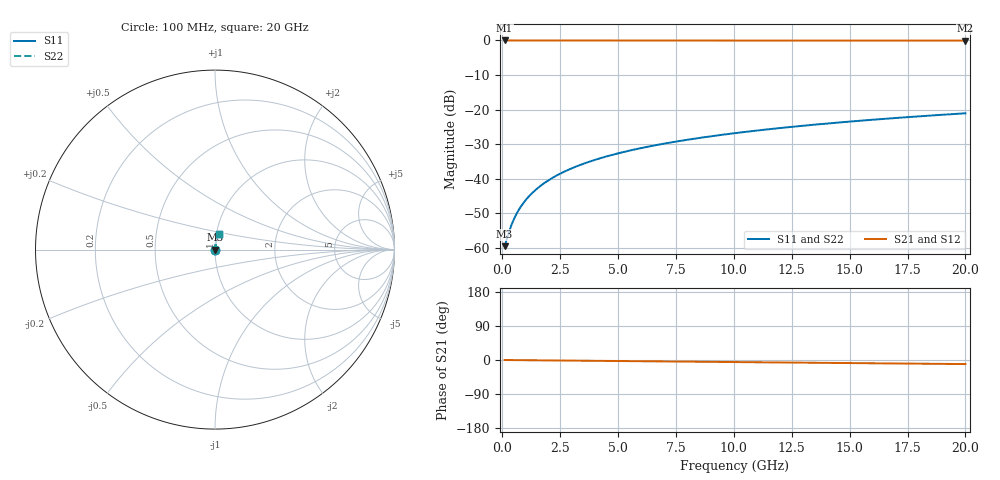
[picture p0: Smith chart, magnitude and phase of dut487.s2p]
! Touchstone file exported from HFSS 2026.1.0
!  File:  C:/ffzhzh/LocalFiles/Ansys_Project_Files/temp_train_TSV_487_1783022693_51716.aedt
!  Generated:  04:07:23 AM Jul  3, 2026
!  Design:  TSV
!  Project:  temp_train_TSV_487_1783022693_51716
! Variables:
!  h_bsmrdl = 2um
!  h_ox = 20um
!  h_rdl = 5um
!  h_sub = 99.31um
!  h_tmrdl = 5um
!  h_tsv = 99.31um
!  h_via = 3um
!  l_bsmrdl = 300um
!  l_sub = 407.06um
!  l_tmrdl = 200um
!  m_sub = 200um
!  pitch = 32.41um
!  r_tsv = 3.53um
!  s_tmrdl = 10um
!  w_bsmrdl = 18um
!  w_sub = 500um
!  w_tmrdl = 12um
!  x_tsv_center1 = 206um
!  x_tsv_center2 = 524um
!  x_tsv_center3 = 736um
!  x_tsv_center4 = 1054um
!  x_tsv_center5 = 1266um
!  x_tsv_center6 = 1584um
# GHz S MA R 50.000000
! Terminal data exported
! Port[1] = TSV1_1_T1
! Port[2] = TSV1_1_T2
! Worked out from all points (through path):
!   200 points, 100 MHz to 20 GHz, reference 50 ohm
!   highest |S21| = -0.01 dB at 100 MHz (marker M1); lowest = -0.1 dB at 20 GHz (marker M2)
!   group delay of S21, straight-line fit = 1.49 ps
!   lowest |S11| = -59.6 dB at 100 MHz (marker M3), VSWR 1.00, Z = 50.1 + j0.0487 ohm
!   |S11| at or under -10 dB: start of sweep to end of sweep
!   |S22| runs from -59.6 to -21.1 dB; largest |S21 - S12| = 4.2e-15
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0.1  0.001052 27.5  0.9991 -0.1  0.9991 -0.1  0.001052 27.5
! Gamma 0 0 0 0
! Port Impedance 50 0 50 0
0.3  0.001733 56.4  0.999 -0.2  0.999 -0.2  0.001733 56.4
0.4  0.002148 63.0  0.999 -0.2  0.999 -0.2  0.002148 63.0
0.5  0.002581 67.5  0.999 -0.3  0.999 -0.3  0.002581 67.5
0.6  0.003023 70.6  0.999 -0.3  0.999 -0.3  0.003023 70.6
0.7  0.003472 72.9  0.999 -0.4  0.999 -0.4  0.003472 72.9
0.9  0.004381 76.1  0.999 -0.5  0.999 -0.5  0.004381 76.1
1.2  0.005762 78.9  0.9989 -0.7  0.9989 -0.7  0.005762 78.9
1.4  0.006687 80.1  0.9989 -0.8  0.9989 -0.8  0.006687 80.1
1.7  0.008078 81.3  0.9989 -0.9  0.9989 -0.9  0.008078 81.3
2.2  0.0104 82.4  0.9988 -1.2  0.9988 -1.2  0.0104 82.4
2.8  0.01317 83.0  0.9987 -1.5  0.9987 -1.5  0.01317 83.0
3.5  0.01639 83.2  0.9985 -1.9  0.9985 -1.9  0.01639 83.2
4.2  0.01958 83.3  0.9983 -2.3  0.9983 -2.3  0.01958 83.3
5  0.0232 83.1  0.9981 -2.8  0.9981 -2.8  0.0232 83.1
5.9  0.02723 82.9  0.9978 -3.2  0.9978 -3.2  0.02723 82.9
6.8  0.03123 82.6  0.9975 -3.7  0.9975 -3.7  0.03123 82.6
8.3  0.03784 82.0  0.997 -4.5  0.997 -4.5  0.03784 82.0
10.1  0.04571 81.3  0.9964 -5.5  0.9964 -5.5  0.04571 81.3
13.4  0.06 79.9  0.9953 -7.3  0.9953 -7.3  0.06 79.9
16.7  0.07416 78.5  0.994 -9.0  0.994 -9.0  0.07416 78.5
20  0.08817 76.9  0.9925 -10.8  0.9925 -10.8  0.08817 76.9
